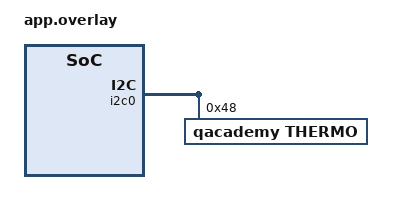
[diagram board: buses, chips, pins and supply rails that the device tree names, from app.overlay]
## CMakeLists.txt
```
# SPDX-License-Identifier: MIT

cmake_minimum_required(VERSION 3.20.0)

# The driver is not in Zephyr's tree but in a module beside this application. Naming the module
# before find_package(Zephyr) is enough for the build to include its CMakeLists.txt, its Kconfig
# and its devicetree bindings.
list(APPEND ZEPHYR_EXTRA_MODULES ${CMAKE_CURRENT_SOURCE_DIR}/../module)

find_package(Zephyr REQUIRED HINTS $ENV{ZEPHYR_BASE})
project(thermo_app)

target_sources(app PRIVATE src/main.c)

# The simulated physical world only exists where the sensor is emulated.
target_sources_ifdef(CONFIG_EMUL app PRIVATE src/world.c)
```

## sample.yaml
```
sample:
  name: Thermo application
  description: Reading an emulated I2C temperature sensor through the generic sensor API.
common:
  platform_allow: native_sim/native/64
  integration_platforms:
    - native_sim/native/64
  extra_configs:
    - CONFIG_NATIVE_SIM_SLOWDOWN_TO_REAL_TIME=n
tests:
  qacademy.l05.thermo.app:
    harness: console
    harness_config:
      type: multi_line
      ordered: true
      regex:
        - "<inf> i2c_emul_ctlr: Register emulator 'thermo@48' at I2C addr 48"
        - "<inf> thermo_app: Reading thermo@48"
        - "<inf> thermo_app: Temperature: 21.5000 C"
        - "<inf> thermo_app: Temperature: 21.4375 C"
        - "<inf> thermo_app: Temperature: -0.5000 C"
        - "<inf> thermo_app: Temperature: -18.0625 C"
```

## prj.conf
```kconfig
# The sensor subsystem, which the Thermo driver plugs into. The driver itself is not named here:
# CONFIG_THERMO defaults to y because app.overlay adds a "qacademy,thermo" node.
CONFIG_SENSOR=y

# Emulators, which native_sim's I2C controller needs to have anything on its bus.
CONFIG_EMUL=y

CONFIG_LOG=y
```

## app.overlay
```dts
/*
 * SPDX-License-Identifier: MIT
 *
 * Put a Thermo sensor on native_sim's emulated I2C controller, at address 0x48. On a board, this
 * node would go on the I2C bus the part is soldered to, and nothing else would change.
 */

&i2c0 {
	thermo: thermo@48 {
		compatible = "qacademy,thermo";
		reg = <0x48>;
	};
};
```

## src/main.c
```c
/*
 * SPDX-License-Identifier: MIT
 *
 * Read the Thermo sensor once a second through Zephyr's generic sensor API.
 */

#include <stdlib.h>

#include <zephyr/device.h>
#include <zephyr/drivers/sensor.h>
#include <zephyr/kernel.h>
#include <zephyr/logging/log.h>

LOG_MODULE_REGISTER(thermo_app, LOG_LEVEL_INF);

int main(void)
{
	/* The device the driver created for the node labelled "thermo" in app.overlay. */
	const struct device *const sensor = DEVICE_DT_GET(DT_NODELABEL(thermo));
	struct sensor_value value;
	int ret;

	if (!device_is_ready(sensor)) {
		LOG_ERR("%s is not ready", sensor->name);
		return 0;
	}

	LOG_INF("Reading %s", sensor->name);

	while (true) {
		/* Fetch talks to the part; get only converts what fetch stored. */
		ret = sensor_sample_fetch(sensor);
		if (ret == 0) {
			ret = sensor_channel_get(sensor, SENSOR_CHAN_AMBIENT_TEMP, &value);
		}

		if (ret < 0) {
			LOG_ERR("Reading failed: %d", ret);
		} else {
			/*
			 * Both parts of a sensor_value carry the sign, so -0.5 is val1 = 0 and
			 * val2 = -500000: printing them as "%d.%06d" would lose the minus.
			 * Converting to one integer first avoids that. Micro rather than milli,
			 * because the part measures in steps of 1/16 = 0.0625 degrees, which needs
			 * four decimals.
			 */
			int64_t micro = sensor_value_to_micro(&value);

			LOG_INF("Temperature: %s%lld.%04lld C", micro < 0 ? "-" : "",
				llabs(micro) / 1000000, llabs(micro) % 1000000 / 100);
		}

		k_sleep(K_SECONDS(1));
	}

	return 0;
}
```

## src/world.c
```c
/*
 * SPDX-License-Identifier: MIT
 *
 * The physical world around the emulated sensor: the sensor is carried into a freezer.
 *
 * main.c would run unchanged on a board with a real Thermo part. This file is what the board's
 * surroundings would do instead, and it is only built when the sensor is emulated. It sets the
 * temperature through the generic sensor emulator backend, half a second before each reading.
 */

#include <zephyr/drivers/emul.h>
#include <zephyr/drivers/emul_sensor.h>
#include <zephyr/kernel.h>
#include <zephyr/sys/util.h>

/* The temperature at each reading, in millionths of a degree Celsius. */
static const int32_t profile_micro_c[] = {
	21500000, 21437500, 12250000, 3500000, -500000, -12000000, -18062500,
};

static void set_temperature(const struct emul *emul, int32_t micro_c)
{
	/* The backend takes a Q31 fraction scaled by 2^shift. A shift of 8 spans
	 * +-256 degrees. */
	const int8_t shift = 8;
	q31_t value = (q31_t)(((int64_t)micro_c * (1LL << (31 - shift))) / 1000000);

	(void)emul_sensor_backend_set_channel(
		emul, (struct sensor_chan_spec){SENSOR_CHAN_AMBIENT_TEMP, 0}, &value, shift);
}

static void world_thread(void *p1, void *p2, void *p3)
{
	const struct emul *emul = EMUL_DT_GET(DT_NODELABEL(thermo));

	ARG_UNUSED(p1);
	ARG_UNUSED(p2);
	ARG_UNUSED(p3);

	/* Readings happen at 0 s, 1 s, 2 s, ...; set each temperature before its reading. */
	set_temperature(emul, profile_micro_c[0]);
	for (size_t i = 1; i < ARRAY_SIZE(profile_micro_c); i++) {
		k_sleep(K_TIMEOUT_ABS_MS(i * 1000 - 500));
		set_temperature(emul, profile_micro_c[i]);
	}
}

/* Priority -1 is cooperative: it runs before main() at boot, so the first reading sees 21.5. */
K_THREAD_DEFINE(world, 1024, world_thread, NULL, NULL, NULL, -1, 0, 0);
```
